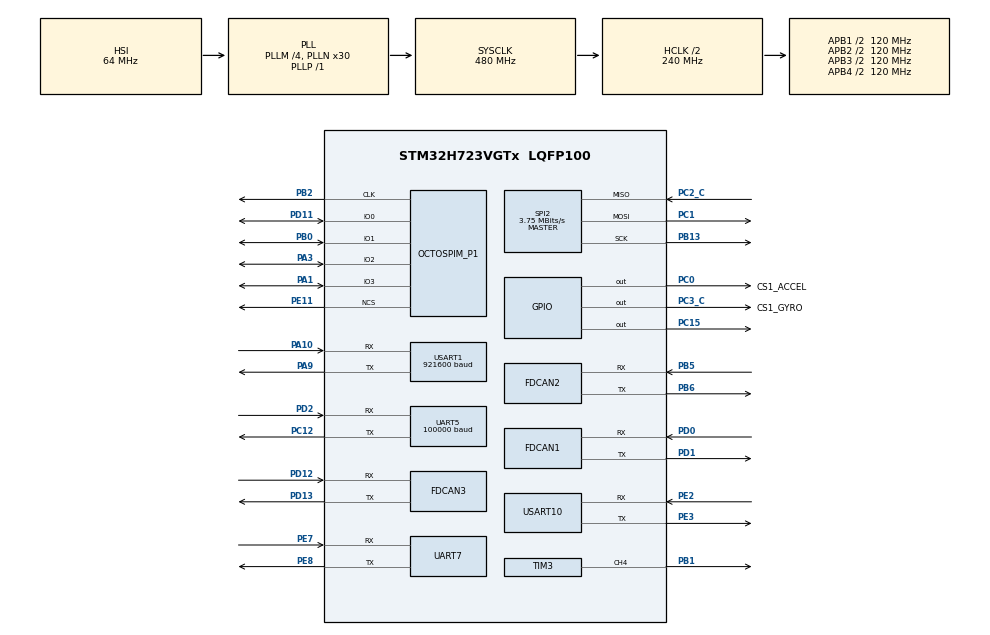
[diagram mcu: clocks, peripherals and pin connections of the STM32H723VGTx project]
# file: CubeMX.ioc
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CORTEX_M7.MPU_Control=__NULL
CORTEX_M7.default_mode_Activation=1
Dma.Request0=USART1_RX
Dma.Request1=USART1_TX
Dma.Request2=UART5_RX
Dma.Request3=UART7_RX
Dma.Request4=UART7_TX
Dma.Request5=USART10_RX
Dma.Request6=USART10_TX
Dma.Request7=SPI2_RX
Dma.Request8=SPI2_TX
Dma.SPI2_RX.7.Direction=DMA_PERIPH_TO_MEMORY
Dma.SPI2_RX.7.EventEnable=DISABLE
Dma.SPI2_RX.7.FIFOMode=DMA_FIFOMODE_DISABLE
Dma.SPI2_RX.7.Instance=DMA1_Stream1
Dma.SPI2_RX.7.MemDataAlignment=DMA_MDATAALIGN_BYTE
Dma.SPI2_RX.7.MemInc=DMA_MINC_ENABLE
Dma.SPI2_RX.7.Mode=DMA_NORMAL
Dma.SPI2_RX.7.PeriphDataAlignment=DMA_PDATAALIGN_BYTE
Dma.SPI2_RX.7.PeriphInc=DMA_PINC_DISABLE
Dma.SPI2_RX.7.Polarity=HAL_DMAMUX_REQ_GEN_RISING
Dma.SPI2_RX.7.Priority=DMA_PRIORITY_VERY_HIGH
Dma.SPI2_RX.7.RequestNumber=1
Dma.SPI2_RX.7.SignalID=NONE
Dma.SPI2_RX.7.SyncEnable=DISABLE
Dma.SPI2_RX.7.SyncPolarity=HAL_DMAMUX_SYNC_NO_EVENT
Dma.SPI2_RX.7.SyncRequestNumber=1
Dma.SPI2_RX.7.SyncSignalID=NONE
Dma.SPI2_TX.8.Direction=DMA_MEMORY_TO_PERIPH
Dma.SPI2_TX.8.EventEnable=DISABLE
Dma.SPI2_TX.8.FIFOMode=DMA_FIFOMODE_DISABLE
Dma.SPI2_TX.8.Instance=DMA1_Stream7
Dma.SPI2_TX.8.MemDataAlignment=DMA_MDATAALIGN_BYTE
Dma.SPI2_TX.8.MemInc=DMA_MINC_ENABLE
Dma.SPI2_TX.8.Mode=DMA_NORMAL
Dma.SPI2_TX.8.PeriphDataAlignment=DMA_PDATAALIGN_BYTE
Dma.SPI2_TX.8.PeriphInc=DMA_PINC_DISABLE
Dma.SPI2_TX.8.Polarity=HAL_DMAMUX_REQ_GEN_RISING
Dma.SPI2_TX.8.Priority=DMA_PRIORITY_HIGH
Dma.SPI2_TX.8.RequestNumber=1
Dma.SPI2_TX.8.SignalID=NONE
Dma.SPI2_TX.8.SyncEnable=DISABLE
Dma.SPI2_TX.8.SyncPolarity=HAL_DMAMUX_SYNC_NO_EVENT
Dma.SPI2_TX.8.SyncRequestNumber=1
Dma.SPI2_TX.8.SyncSignalID=NONE
Dma.UART5_RX.2.Direction=DMA_PERIPH_TO_MEMORY
Dma.UART5_RX.2.EventEnable=DISABLE
Dma.UART5_RX.2.FIFOMode=DMA_FIFOMODE_DISABLE
Dma.UART5_RX.2.Instance=DMA1_Stream0
Dma.UART5_RX.2.MemDataAlignment=DMA_MDATAALIGN_BYTE
Dma.UART5_RX.2.MemInc=DMA_MINC_ENABLE
Dma.UART5_RX.2.Mode=DMA_NORMAL
Dma.UART5_RX.2.PeriphDataAlignment=DMA_PDATAALIGN_BYTE
Dma.UART5_RX.2.PeriphInc=DMA_PINC_DISABLE
Dma.UART5_RX.2.Polarity=HAL_DMAMUX_REQ_GEN_RISING
Dma.UART5_RX.2.Priority=DMA_PRIORITY_VERY_HIGH
Dma.UART5_RX.2.RequestNumber=1
Dma.UART5_RX.2.SignalID=NONE
Dma.UART5_RX.2.SyncEnable=DISABLE
Dma.UART5_RX.2.SyncPolarity=HAL_DMAMUX_SYNC_NO_EVENT
Dma.UART5_RX.2.SyncRequestNumber=1
Dma.UART5_RX.2.SyncSignalID=NONE
Dma.UART7_RX.3.Direction=DMA_PERIPH_TO_MEMORY
Dma.UART7_RX.3.EventEnable=DISABLE
Dma.UART7_RX.3.FIFOMode=DMA_FIFOMODE_DISABLE
Dma.UART7_RX.3.Instance=DMA1_Stream3
Dma.UART7_RX.3.MemDataAlignment=DMA_MDATAALIGN_BYTE
Dma.UART7_RX.3.MemInc=DMA_MINC_ENABLE
Dma.UART7_RX.3.Mode=DMA_NORMAL
Dma.UART7_RX.3.PeriphDataAlignment=DMA_PDATAALIGN_BYTE
Dma.UART7_RX.3.PeriphInc=DMA_PINC_DISABLE
Dma.UART7_RX.3.Polarity=HAL_DMAMUX_REQ_GEN_RISING
Dma.UART7_RX.3.Priority=DMA_PRIORITY_LOW
Dma.UART7_RX.3.RequestNumber=1
Dma.UART7_RX.3.SignalID=NONE
Dma.UART7_RX.3.SyncEnable=DISABLE
Dma.UART7_RX.3.SyncPolarity=HAL_DMAMUX_SYNC_NO_EVENT
Dma.UART7_RX.3.SyncRequestNumber=1
Dma.UART7_RX.3.SyncSignalID=NONE
Dma.UART7_TX.4.Direction=DMA_MEMORY_TO_PERIPH
Dma.UART7_TX.4.EventEnable=DISABLE
Dma.UART7_TX.4.FIFOMode=DMA_FIFOMODE_DISABLE
Dma.UART7_TX.4.Instance=DMA1_Stream4
Dma.UART7_TX.4.MemDataAlignment=DMA_MDATAALIGN_BYTE
Dma.UART7_TX.4.MemInc=DMA_MINC_ENABLE
Dma.UART7_TX.4.Mode=DMA_NORMAL
Dma.UART7_TX.4.PeriphDataAlignment=DMA_PDATAALIGN_BYTE
Dma.UART7_TX.4.PeriphInc=DMA_PINC_DISABLE
Dma.UART7_TX.4.Polarity=HAL_DMAMUX_REQ_GEN_RISING
Dma.UART7_TX.4.Priority=DMA_PRIORITY_LOW
Dma.UART7_TX.4.RequestNumber=1
Dma.UART7_TX.4.SignalID=NONE
Dma.UART7_TX.4.SyncEnable=DISABLE
Dma.UART7_TX.4.SyncPolarity=HAL_DMAMUX_SYNC_NO_EVENT
Dma.UART7_TX.4.SyncRequestNumber=1
Dma.UART7_TX.4.SyncSignalID=NONE
Dma.USART10_RX.5.Direction=DMA_PERIPH_TO_MEMORY
Dma.USART10_RX.5.EventEnable=DISABLE
Dma.USART10_RX.5.FIFOMode=DMA_FIFOMODE_DISABLE
Dma.USART10_RX.5.Instance=DMA1_Stream5
Dma.USART10_RX.5.MemDataAlignment=DMA_MDATAALIGN_BYTE
Dma.USART10_RX.5.MemInc=DMA_MINC_ENABLE
Dma.USART10_RX.5.Mode=DMA_NORMAL
Dma.USART10_RX.5.PeriphDataAlignment=DMA_PDATAALIGN_BYTE
Dma.USART10_RX.5.PeriphInc=DMA_PINC_DISABLE
Dma.USART10_RX.5.Polarity=HAL_DMAMUX_REQ_GEN_RISING
Dma.USART10_RX.5.Priority=DMA_PRIORITY_LOW
Dma.USART10_RX.5.RequestNumber=1
Dma.USART10_RX.5.SignalID=NONE
Dma.USART10_RX.5.SyncEnable=DISABLE
Dma.USART10_RX.5.SyncPolarity=HAL_DMAMUX_SYNC_NO_EVENT
Dma.USART10_RX.5.SyncRequestNumber=1
Dma.USART10_RX.5.SyncSignalID=NONE
Dma.USART10_TX.6.Direction=DMA_MEMORY_TO_PERIPH
Dma.USART10_TX.6.EventEnable=DISABLE
Dma.USART10_TX.6.FIFOMode=DMA_FIFOMODE_DISABLE
Dma.USART10_TX.6.Instance=DMA1_Stream6
Dma.USART10_TX.6.MemDataAlignment=DMA_MDATAALIGN_BYTE
Dma.USART10_TX.6.MemInc=DMA_MINC_ENABLE
Dma.USART10_TX.6.Mode=DMA_NORMAL
Dma.USART10_TX.6.PeriphDataAlignment=DMA_PDATAALIGN_BYTE
Dma.USART10_TX.6.PeriphInc=DMA_PINC_DISABLE
Dma.USART10_TX.6.Polarity=HAL_DMAMUX_REQ_GEN_RISING
Dma.USART10_TX.6.Priority=DMA_PRIORITY_LOW
Dma.USART10_TX.6.RequestNumber=1
Dma.USART10_TX.6.SignalID=NONE
Dma.USART10_TX.6.SyncEnable=DISABLE
Dma.USART10_TX.6.SyncPolarity=HAL_DMAMUX_SYNC_NO_EVENT
Dma.USART10_TX.6.SyncRequestNumber=1
Dma.USART10_TX.6.SyncSignalID=NONE
Dma.USART1_RX.0.Direction=DMA_PERIPH_TO_MEMORY
Dma.USART1_RX.0.EventEnable=DISABLE
Dma.USART1_RX.0.FIFOMode=DMA_FIFOMODE_DISABLE
Dma.USART1_RX.0.Instance=DMA1_Stream2
Dma.USART1_RX.0.MemDataAlignment=DMA_MDATAALIGN_BYTE
Dma.USART1_RX.0.MemInc=DMA_MINC_ENABLE
Dma.USART1_RX.0.Mode=DMA_NORMAL
Dma.USART1_RX.0.PeriphDataAlignment=DMA_PDATAALIGN_BYTE
Dma.USART1_RX.0.PeriphInc=DMA_PINC_DISABLE
Dma.USART1_RX.0.Polarity=HAL_DMAMUX_REQ_GEN_RISING
Dma.USART1_RX.0.Priority=DMA_PRIORITY_LOW
Dma.USART1_RX.0.RequestNumber=1
Dma.USART1_RX.0.SignalID=NONE
Dma.USART1_RX.0.SyncEnable=DISABLE
Dma.USART1_RX.0.SyncPolarity=HAL_DMAMUX_SYNC_NO_EVENT
Dma.USART1_RX.0.SyncRequestNumber=1
Dma.USART1_RX.0.SyncSignalID=NONE
Dma.USART1_TX.1.Direction=DMA_MEMORY_TO_PERIPH
Dma.USART1_TX.1.EventEnable=DISABLE
Dma.USART1_TX.1.FIFOMode=DMA_FIFOMODE_DISABLE
Dma.USART1_TX.1.Instance=DMA2_Stream1
Dma.USART1_TX.1.MemDataAlignment=DMA_MDATAALIGN_BYTE
Dma.USART1_TX.1.MemInc=DMA_MINC_ENABLE
Dma.USART1_TX.1.Mode=DMA_NORMAL
Dma.USART1_TX.1.PeriphDataAlignment=DMA_PDATAALIGN_BYTE
Dma.USART1_TX.1.PeriphInc=DMA_PINC_DISABLE
Dma.USART1_TX.1.Polarity=HAL_DMAMUX_REQ_GEN_RISING
Dma.USART1_TX.1.Priority=DMA_PRIORITY_LOW
Dma.USART1_TX.1.RequestNumber=1
Dma.USART1_TX.1.SignalID=NONE
Dma.USART1_TX.1.SyncEnable=DISABLE
Dma.USART1_TX.1.SyncPolarity=HAL_DMAMUX_SYNC_NO_EVENT
Dma.USART1_TX.1.SyncRequestNumber=1
Dma.USART1_TX.1.SyncSignalID=NONE
FDCAN1.AutoRetransmission=ENABLE
FDCAN1.CalculateBaudRateNominal=1000000
FDCAN1.CalculateTimeBitNominal=1000
FDCAN1.CalculateTimeQuantumNominal=25.0
FDCAN1.DataPrescaler=3
FDCAN1.DataSyncJumpWidth=10
FDCAN1.DataTimeSeg1=29
FDCAN1.DataTimeSeg2=10
FDCAN1.ExtFiltersNbr=4
FDCAN1.NominalPrescaler=3
FDCAN1.NominalSyncJumpWidth=10
FDCAN1.NominalTimeSeg1=29
FDCAN1.NominalTimeSeg2=10
FDCAN1.ProtocolException=ENABLE
FDCAN1.RxBuffersNbr=32
FDCAN1.RxFifo0ElmtsNbr=32
FDCAN1.RxFifo1ElmtsNbr=0
FDCAN1.StdFiltersNbr=4
FDCAN1.TxFifoQueueElmtsNbr=8
FDCAN2.AutoRetransmission=ENABLE
FDCAN2.CalculateBaudRateNominal=1000000
FDCAN2.CalculateTimeBitNominal=1000
FDCAN2.CalculateTimeQuantumNominal=25.0
FDCAN2.DataPrescaler=3
FDCAN2.DataSyncJumpWidth=10
FDCAN2.DataTimeSeg1=29
FDCAN2.DataTimeSeg2=10
FDCAN2.ExtFiltersNbr=4
FDCAN2.MessageRAMOffset=0x200
FDCAN2.NominalPrescaler=3
FDCAN2.NominalSyncJumpWidth=10
FDCAN2.NominalTimeSeg1=29
FDCAN2.NominalTimeSeg2=10
FDCAN2.ProtocolException=ENABLE
FDCAN2.RxBuffersNbr=3
FDCAN2.RxFifo0ElmtsNbr=8
FDCAN2.RxFifo1ElmtsNbr=0
FDCAN2.StdFiltersNbr=4
FDCAN2.TransmitPause=DISABLE
FDCAN2.TxFifoQueueElmtsNbr=32
FDCAN3.AutoRetransmission=ENABLE
FDCAN3.CalculateBaudRateNominal=1000000
FDCAN3.CalculateTimeBitNominal=1000
FDCAN3.CalculateTimeQuantumNominal=25.0
FDCAN3.DataPrescaler=3
FDCAN3.DataSyncJumpWidth=10
FDCAN3.DataTimeSeg1=29
FDCAN3.DataTimeSeg2=10
FDCAN3.ExtFiltersNbr=4
FDCAN3.MessageRAMOffset=0x400
FDCAN3.NominalPrescaler=3
FDCAN3.NominalSyncJumpWidth=10
FDCAN3.NominalTimeSeg1=29
FDCAN3.NominalTimeSeg2=10
FDCAN3.ProtocolException=ENABLE
FDCAN3.RxBuffersNbr=32
FDCAN3.RxFifo0ElmtsNbr=32
FDCAN3.StdFiltersNbr=4
FDCAN3.TxFifoQueueElmtsNbr=32
FREERTOS.INCLUDE_vTaskDelayUntil=1
FREERTOS.Tasks01=defaultTask,0,512,StartDefaultTask,As weak,NULL,Dynamic,NULL,NULL;demo_task,-3,256,start_demo_task,As weak,NULL,Dynamic,NULL,NULL;mission_planer_,3,512,start_mission_planer_task,As weak,NULL,Dynamic,NULL,NULL
FREERTOS.configTOTAL_HEAP_SIZE=30720
Mcu.Family=STM32H7
Mcu.Name=STM32H723VGTx
Mcu.Package=LQFP100
Mdma.MDMA_Channel1.OCTOSPI1_TC.0.BlockCount=0
Mdma.MDMA_Channel1.OCTOSPI1_TC.0.BlockDataLength=0
Mdma.MDMA_Channel1.OCTOSPI1_TC.0.BufferTransferLength=1
Mdma.MDMA_Channel1.OCTOSPI1_TC.0.CircularMode=MDMA_LINEAR_LIST
Mdma.MDMA_Channel1.OCTOSPI1_TC.0.DataAlignment=MDMA_DATAALIGN_PACKENABLE
Mdma.MDMA_Channel1.OCTOSPI1_TC.0.DestBlockAddressOffset=0
Mdma.MDMA_Channel1.OCTOSPI1_TC.0.DestBurst=MDMA_DEST_BURST_SINGLE
Mdma.MDMA_Channel1.OCTOSPI1_TC.0.DestDataSize=MDMA_DEST_DATASIZE_BYTE
Mdma.MDMA_Channel1.OCTOSPI1_TC.0.DestinationInc=MDMA_DEST_INC_BYTE
Mdma.MDMA_Channel1.OCTOSPI1_TC.0.DstAddress=0
Mdma.MDMA_Channel1.OCTOSPI1_TC.0.Endianness=MDMA_LITTLE_ENDIANNESS_PRESERVE
Mdma.MDMA_Channel1.OCTOSPI1_TC.0.Instance=MDMA_Channel1
Mdma.MDMA_Channel1.OCTOSPI1_TC.0.MaskAddress=0
Mdma.MDMA_Channel1.OCTOSPI1_TC.0.MaskData=0
Mdma.MDMA_Channel1.OCTOSPI1_TC.0.Priority=MDMA_PRIORITY_LOW
Mdma.MDMA_Channel1.OCTOSPI1_TC.0.Rank=First
Mdma.MDMA_Channel1.OCTOSPI1_TC.0.SourceBlockAddressOffset=0
Mdma.MDMA_Channel1.OCTOSPI1_TC.0.SourceBurst=MDMA_SOURCE_BURST_SINGLE
Mdma.MDMA_Channel1.OCTOSPI1_TC.0.SourceDataSize=MDMA_SRC_DATASIZE_BYTE
Mdma.MDMA_Channel1.OCTOSPI1_TC.0.SourceInc=MDMA_SRC_INC_BYTE
Mdma.MDMA_Channel1.OCTOSPI1_TC.0.SrcAddress=0
Mdma.MDMA_Channel1.OCTOSPI1_TC.0.TransferTriggerMode=MDMA_BUFFER_TRANSFER
Mdma.MDMA_Channel1.Request0=OCTOSPI1_TC
Mdma.MDMA_Channel1.RequestsNb=1
Mdma.MDMA_Channel10.OCTOSPI1_FIFO_TH.0.BlockCount=0
Mdma.MDMA_Channel10.OCTOSPI1_FIFO_TH.0.BlockDataLength=0
Mdma.MDMA_Channel10.OCTOSPI1_FIFO_TH.0.BufferTransferLength=1
Mdma.MDMA_Channel10.OCTOSPI1_FIFO_TH.0.CircularMode=MDMA_LINEAR_LIST
Mdma.MDMA_Channel10.OCTOSPI1_FIFO_TH.0.DataAlignment=MDMA_DATAALIGN_PACKENABLE
Mdma.MDMA_Channel10.OCTOSPI1_FIFO_TH.0.DestBlockAddressOffset=0
Mdma.MDMA_Channel10.OCTOSPI1_FIFO_TH.0.DestBurst=MDMA_DEST_BURST_SINGLE
Mdma.MDMA_Channel10.OCTOSPI1_FIFO_TH.0.DestDataSize=MDMA_DEST_DATASIZE_BYTE
Mdma.MDMA_Channel10.OCTOSPI1_FIFO_TH.0.DestinationInc=MDMA_DEST_INC_BYTE
Mdma.MDMA_Channel10.OCTOSPI1_FIFO_TH.0.DstAddress=0
Mdma.MDMA_Channel10.OCTOSPI1_FIFO_TH.0.Endianness=MDMA_LITTLE_ENDIANNESS_PRESERVE
Mdma.MDMA_Channel10.OCTOSPI1_FIFO_TH.0.Instance=MDMA_Channel10
Mdma.MDMA_Channel10.OCTOSPI1_FIFO_TH.0.MaskAddress=0
Mdma.MDMA_Channel10.OCTOSPI1_FIFO_TH.0.MaskData=0
Mdma.MDMA_Channel10.OCTOSPI1_FIFO_TH.0.Priority=MDMA_PRIORITY_LOW
Mdma.MDMA_Channel10.OCTOSPI1_FIFO_TH.0.Rank=First
Mdma.MDMA_Channel10.OCTOSPI1_FIFO_TH.0.SourceBlockAddressOffset=0
Mdma.MDMA_Channel10.OCTOSPI1_FIFO_TH.0.SourceBurst=MDMA_SOURCE_BURST_SINGLE
Mdma.MDMA_Channel10.OCTOSPI1_FIFO_TH.0.SourceDataSize=MDMA_SRC_DATASIZE_BYTE
Mdma.MDMA_Channel10.OCTOSPI1_FIFO_TH.0.SourceInc=MDMA_SRC_INC_BYTE
Mdma.MDMA_Channel10.OCTOSPI1_FIFO_TH.0.SrcAddress=0
Mdma.MDMA_Channel10.OCTOSPI1_FIFO_TH.0.TransferTriggerMode=MDMA_BUFFER_TRANSFER
Mdma.MDMA_Channel10.Request0=OCTOSPI1_FIFO_TH
Mdma.MDMA_Channel10.RequestsNb=1
Mdma.RequestSet0=MDMA_Channel10
Mdma.RequestSet1=MDMA_Channel1
Mdma.RequestSetsNb=2
NVIC.DMA1_Stream0_IRQn=true\:5\:0\:false\:false\:true\:true\:false\:true\:true
NVIC.DMA1_Stream1_IRQn=true\:5\:0\:false\:false\:true\:true\:false\:true\:true
NVIC.DMA1_Stream2_IRQn=true\:5\:0\:false\:false\:true\:true\:false\:true\:true
NVIC.DMA1_Stream3_IRQn=true\:5\:0\:false\:false\:true\:true\:false\:true\:true
NVIC.DMA1_Stream4_IRQn=true\:5\:0\:false\:false\:true\:true\:false\:true\:true
NVIC.DMA1_Stream5_IRQn=true\:5\:0\:false\:false\:true\:true\:false\:true\:true
NVIC.DMA1_Stream6_IRQn=true\:5\:0\:false\:false\:true\:true\:false\:true\:true
NVIC.DMA1_Stream7_IRQn=true\:5\:0\:false\:false\:true\:true\:false\:true\:true
NVIC.DMA2_Stream1_IRQn=true\:5\:0\:false\:false\:true\:false\:false\:true\:true
NVIC.FDCAN1_IT0_IRQn=true\:5\:0\:false\:false\:true\:true\:true\:true\:true
NVIC.FDCAN1_IT1_IRQn=true\:5\:0\:false\:false\:true\:true\:true\:true\:true
NVIC.FDCAN2_IT0_IRQn=true\:5\:0\:false\:false\:true\:true\:true\:true\:true
NVIC.FDCAN2_IT1_IRQn=true\:5\:0\:false\:false\:true\:true\:true\:true\:true
NVIC.FDCAN3_IT0_IRQn=true\:5\:0\:false\:false\:true\:true\:true\:true\:true
NVIC.FDCAN3_IT1_IRQn=true\:5\:0\:false\:false\:true\:true\:true\:true\:true
NVIC.MDMA_IRQn=true\:5\:0\:false\:false\:true\:true\:false\:true\:true
NVIC.OCTOSPI1_IRQn=true\:5\:0\:false\:false\:true\:true\:true\:true\:true
NVIC.PriorityGroup=NVIC_PRIORITYGROUP_4
NVIC.SPI2_IRQn=true\:5\:0\:false\:false\:true\:true\:false\:true\:true
NVIC.TIM1_BRK_IRQn=true\:5\:0\:false\:false\:true\:true\:true\:true\:true
NVIC.TIM1_CC_IRQn=true\:5\:0\:false\:false\:true\:true\:true\:true\:true
NVIC.TIM1_TRG_COM_IRQn=true\:5\:0\:false\:false\:true\:true\:true\:true\:true
NVIC.TIM1_UP_IRQn=true\:5\:0\:false\:false\:true\:true\:true\:true\:true
NVIC.TIM5_IRQn=true\:0\:0\:false\:false\:true\:false\:false\:true\:true
NVIC.TimeBase=TIM5_IRQn
NVIC.TimeBaseIP=TIM5
NVIC.UART5_IRQn=true\:5\:0\:false\:false\:true\:true\:true\:true\:true
NVIC.UART7_IRQn=true\:5\:0\:false\:false\:true\:true\:true\:true\:true
NVIC.USART10_IRQn=true\:5\:0\:false\:false\:true\:true\:true\:true\:true
NVIC.USART1_IRQn=true\:5\:0\:false\:false\:true\:true\:false\:true\:true
OCTOSPI1.ClockPrescaler=8
OCTOSPI1.DeviceSize=23
PA1.Mode=OCTOSPI1_IOL_Port1L
PA1.Signal=OCTOSPIM_P1_IO3
PA10.Mode=Asynchronous
PA10.Signal=USART1_RX
PA13(JTMS/SWDIO).Mode=Serial_Wire
PA13(JTMS/SWDIO).Signal=DEBUG_JTMS-SWDIO
PA14(JTCK/SWCLK).Mode=Serial_Wire
PA14(JTCK/SWCLK).Signal=DEBUG_JTCK-SWCLK
PA3.Mode=OCTOSPI1_IOL_Port1L
PA3.Signal=OCTOSPIM_P1_IO2
PA9.Mode=Asynchronous
PA9.Signal=USART1_TX
PB0.Mode=OCTOSPI1_IOL_Port1L
PB0.Signal=OCTOSPIM_P1_IO1
PB1.Signal=S_TIM3_CH4
PB13.Mode=Full_Duplex_Master
PB13.Signal=SPI2_SCK
PB2.Mode=O1_P1_CLK
PB2.Signal=OCTOSPIM_P1_CLK
PB5.Mode=FDCAN_Activate
PB5.Signal=FDCAN2_RX
PB6.Mode=FDCAN_Activate
PB6.Signal=FDCAN2_TX
PC0.GPIO_Label=CS1_ACCEL
PC0.GPIO_Speed=GPIO_SPEED_FREQ_VERY_HIGH
PC0.PinState=GPIO_PIN_SET
PC0.Signal=GPIO_Output
PC1.Mode=Full_Duplex_Master
PC1.Signal=SPI2_MOSI
PC12.Mode=Asynchronous
PC12.Signal=UART5_TX
PC15-OSC32_OUT.GPIO_PuPd=GPIO_PULLUP
PC15-OSC32_OUT.PinState=GPIO_PIN_SET
PC15-OSC32_OUT.Signal=GPIO_Output
PC2_C.Mode=Full_Duplex_Master
PC2_C.Signal=SPI2_MISO
PC3_C.GPIO_Label=CS1_GYRO
PC3_C.GPIO_Speed=GPIO_SPEED_FREQ_VERY_HIGH
PC3_C.PinState=GPIO_PIN_SET
PC3_C.Signal=GPIO_Output
PD0.Mode=FDCAN_Activate
PD0.Signal=FDCAN1_RX
PD1.Mode=FDCAN_Activate
PD1.Signal=FDCAN1_TX
PD11.Mode=OCTOSPI1_IOL_Port1L
PD11.Signal=OCTOSPIM_P1_IO0
PD12.Mode=FDCAN_Activate
PD12.Signal=FDCAN3_RX
PD13.Mode=FDCAN_Activate
PD13.Signal=FDCAN3_TX
PD2.Mode=Asynchronous
PD2.Signal=UART5_RX
PE11.Mode=OCTOSPI1_Port1_NCS
PE11.Signal=OCTOSPIM_P1_NCS
PE2.Mode=Asynchronous
PE2.Signal=USART10_RX
PE3.Mode=Asynchronous
PE3.Signal=USART10_TX
PE7.Mode=Asynchronous
PE7.Signal=UART7_RX
PE8.Mode=Asynchronous
PE8.Signal=UART7_TX
ProjectManager.HeapSize=0x200
ProjectManager.StackSize=0x400
ProjectManager.TargetToolchain=CMake
RCC.ADCFreq_Value=129000000
RCC.APB1Freq_Value=120000000
RCC.APB2Freq_Value=120000000
RCC.APB3Freq_Value=120000000
RCC.APB4Freq_Value=120000000
RCC.CortexFreq_Value=480000000
RCC.D1PPRE=RCC_APB3_DIV2
RCC.D2PPRE1=RCC_APB1_DIV2
RCC.D2PPRE2=RCC_APB2_DIV2
RCC.D3PPRE=RCC_APB4_DIV2
RCC.DIVM1=4
RCC.DIVN1=30
RCC.DIVP1=1
RCC.DIVQ1=4
RCC.HCLKFreq_Value=240000000
RCC.HPRE=RCC_HCLK_DIV2
RCC.PLL1_VCI_Range=RCC_PLL1VCIRANGE_3
RCC.PLL2FRACN=0
RCC.PLL3FRACN=0
RCC.PLLFRACN=0
RCC.SYSCLKFreq_VALUE=480000000
RCC.SYSCLKSource=RCC_SYSCLKSOURCE_PLLCLK
RCC.USBFreq_Value=120000000
SH.S_TIM3_CH4.0=TIM3_CH4,PWM Generation4 CH4
SPI2.BaudRatePrescaler=SPI_BAUDRATEPRESCALER_32
SPI2.CLKPhase=SPI_PHASE_2EDGE
SPI2.CLKPolarity=SPI_POLARITY_HIGH
SPI2.CalculateBaudRate=3.75 MBits/s
SPI2.DataSize=SPI_DATASIZE_8BIT
SPI2.Direction=SPI_DIRECTION_2LINES
SPI2.Mode=SPI_MODE_MASTER
SPI2.VirtualType=VM_MASTER
TIM1.Period=999
TIM1.Prescaler=479
TIM3.Channel-PWM\ Generation4\ CH4=TIM_CHANNEL_4
TIM3.Prescaler=24-1
UART5.BaudRate=100000
UART5.Parity=PARITY_EVEN
UART5.RxPinLevelInvertParam=UART_ADVFEATURE_RXINV_DISABLE
UART5.WordLength=WORDLENGTH_9B
USART1.BaudRate=921600
USART1.VirtualMode-Asynchronous=VM_ASYNC
USART10.VirtualMode=VM_ASYNC
VP_FREERTOS_VS_CMSIS_V1.Mode=CMSIS_V1
VP_MEMORYMAP_VS_MEMORYMAP.Mode=CurAppReg
VP_OCTOSPI1_VS_octo.Mode=octo_mode
VP_SYS_VS_tim5.Mode=TIM5
VP_TIM1_VS_ClockSourceINT.Mode=Internal
board=custom

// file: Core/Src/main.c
/* USER CODE BEGIN Header */
/**
  ******************************************************************************
  * @file           : main.c
  * @brief          : Main program body
  ******************************************************************************
  * @attention
  *
  * Copyright (c) 2026 STMicroelectronics.
  * All rights reserved.
  *
  * This software is licensed under terms that can be found in the LICENSE file
  * in the root directory of this software component.
  * If no LICENSE file comes with this software, it is provided AS-IS.
  *
  ******************************************************************************
  */
/* USER CODE END Header */
#include "main.h"
#include "cmsis_os.h"
#include "dma.h"
#include "fdcan.h"
#include "mdma.h"
#include "octospi.h"
#include "spi.h"
#include "tim.h"
#include "usart.h"
#include "gpio.h"

/* USER CODE BEGIN Includes */
#include <string.h>  /* 使用 memcpy 需要此头文件 */
#include "log.h"     /* 日志抽象接口 */
#include "pyro_hardfault.h"
/* USER CODE END Includes */

/* USER CODE BEGIN PV */
/* 从链接器脚本导入的地址符号 */
extern uint32_t _sitcm_text;
extern uint32_t _eitcm_text;
extern uint32_t _siitcm_text;

/* 定义新的中断向量表。
 * [关键修复]：STM32H7 中断向量数量庞大，必须满足 Cortex-M7 的 1024 字节对齐要求！
 * 分配 256 个 uint32_t（正好 1024 字节空间）并强制 1024 字节对齐。
 */
#define VECTOR_TABLE_SIZE 256
__attribute__((aligned(1024))) uint32_t dtcm_vector_table[VECTOR_TABLE_SIZE];
/* USER CODE END PV */

void SystemClock_Config(void);
void MX_FREERTOS_Init(void);

/* USER CODE BEGIN 0 */
void Relocate_Vector_And_Code_To_RAM(void)
{
    __disable_irq(); // 搬运期间严禁中断触发

    /* 1. 搬运中断向量表到 DTCM RAM */
    /* H7 的 Flash 默认起始地址为 0x08000000，拷贝完整的 1024 字节 */
    memcpy(dtcm_vector_table, (uint32_t*)0x08000000, sizeof(dtcm_vector_table));
    #ifdef USE_LOG
    /* HardFault 是异常号 3，替换为用户自定义入口 */
    dtcm_vector_table[3] = ((uint32_t)pyro_hardfault_entry) | 1U;
    #endif
    SCB->VTOR = (uint32_t)dtcm_vector_table; // 将 Cortex-M7 的向量表偏移指向 RAM

    /* 2. 搬运高频中断代码从 Flash 到 ITCM RAM */
    uint32_t *pSrc = &_siitcm_text; // 数据在 Flash 里的源地址
    uint32_t *pDest = &_sitcm_text; // 数据在 ITCM 里的目标运行地址

    while (pDest < &_eitcm_text)
    {
        *pDest++ = *pSrc++;
    }

    /* 3. 内存屏障，确保缓存、流水线与总线同步 */
    __DSB(); // 数据同步屏障
    __ISB(); // 指令同步屏障 (丢弃流水线旧指令，强制从 ITCM 重新取指)

    __enable_irq(); // 恢复中断
}
/* USER CODE END 0 */

int main(void)
{

  /* USER CODE BEGIN 1 */
  SEGGER_RTT_Init();
  /* 在开启任何硬件外设和中断之前，执行分散加载与向量表重定向！*/
  Relocate_Vector_And_Code_To_RAM();
  /* USER CODE END 1 */

  /* MCU Configuration--------------------------------------------------------*/

  /* Reset of all peripherals, Initializes the Flash interface and the Systick. */
  HAL_Init();

  /* USER CODE BEGIN Init */
  LogHandle.Ctrl.Init(); // 初始化 EasyLogger
  /* USER CODE END Init */

  /* Configure the system clock */
  SystemClock_Config();

  /* Initialize all configured peripherals */
  MX_GPIO_Init();
  MX_DMA_Init();
  MX_MDMA_Init();
  MX_USART1_UART_Init();
  MX_FDCAN1_Init();
  MX_FDCAN2_Init();
  MX_FDCAN3_Init();
  MX_UART7_Init();
  MX_USART10_UART_Init();
  MX_SPI2_Init();
  MX_UART5_Init();
  MX_TIM3_Init();
  MX_TIM1_Init();
  MX_OCTOSPI1_Init();

  /* Call init function for freertos objects (in cmsis_os2.c) */
  MX_FREERTOS_Init();

  /* Start scheduler */
  osKernelStart();

  /* We should never get here as control is now taken by the scheduler */

  /* Infinite loop */
  while (1)
  {

  }
}

void SystemClock_Config(void)
{
  RCC_OscInitTypeDef RCC_OscInitStruct = {0};
  RCC_ClkInitTypeDef RCC_ClkInitStruct = {0};

  /** Supply configuration update enable
  */
  HAL_PWREx_ConfigSupply(PWR_LDO_SUPPLY);

  /** Configure the main internal regulator output voltage
  */
  __HAL_PWR_VOLTAGESCALING_CONFIG(PWR_REGULATOR_VOLTAGE_SCALE0);

  while(!__HAL_PWR_GET_FLAG(PWR_FLAG_VOSRDY)) {}

  /** Initializes the RCC Oscillators according to the specified parameters
  * in the RCC_OscInitTypeDef structure.
  */
  RCC_OscInitStruct.OscillatorType = RCC_OSCILLATORTYPE_HSI;
  RCC_OscInitStruct.HSIState = RCC_HSI_DIV1;
  RCC_OscInitStruct.HSICalibrationValue = 64;
  RCC_OscInitStruct.PLL.PLLState = RCC_PLL_ON;
  RCC_OscInitStruct.PLL.PLLSource = RCC_PLLSOURCE_HSI;
  RCC_OscInitStruct.PLL.PLLM = 4;
  RCC_OscInitStruct.PLL.PLLN = 30;
  RCC_OscInitStruct.PLL.PLLP = 1;
  RCC_OscInitStruct.PLL.PLLQ = 4;
  RCC_OscInitStruct.PLL.PLLR = 2;
  RCC_OscInitStruct.PLL.PLLRGE = RCC_PLL1VCIRANGE_3;
  RCC_OscInitStruct.PLL.PLLVCOSEL = RCC_PLL1VCOWIDE;
  RCC_OscInitStruct.PLL.PLLFRACN = 0;
  if (HAL_RCC_OscConfig(&RCC_OscInitStruct) != HAL_OK)
  {
    Error_Handler();
  }

  /** Initializes the CPU, AHB and APB buses clocks
  */
  RCC_ClkInitStruct.ClockType = RCC_CLOCKTYPE_HCLK|RCC_CLOCKTYPE_SYSCLK
                              |RCC_CLOCKTYPE_PCLK1|RCC_CLOCKTYPE_PCLK2
                              |RCC_CLOCKTYPE_D3PCLK1|RCC_CLOCKTYPE_D1PCLK1;
  RCC_ClkInitStruct.SYSCLKSource = RCC_SYSCLKSOURCE_PLLCLK;
  RCC_ClkInitStruct.SYSCLKDivider = RCC_SYSCLK_DIV1;
  RCC_ClkInitStruct.AHBCLKDivider = RCC_HCLK_DIV2;
  RCC_ClkInitStruct.APB3CLKDivider = RCC_APB3_DIV2;
  RCC_ClkInitStruct.APB1CLKDivider = RCC_APB1_DIV2;
  RCC_ClkInitStruct.APB2CLKDivider = RCC_APB2_DIV2;
  RCC_ClkInitStruct.APB4CLKDivider = RCC_APB4_DIV2;

  if (HAL_RCC_ClockConfig(&RCC_ClkInitStruct, FLASH_LATENCY_3) != HAL_OK)
  {
    Error_Handler();
  }
}

void HAL_TIM_PeriodElapsedCallback(TIM_HandleTypeDef *htim)
{
  if (htim->Instance == TIM5)
  {
    HAL_IncTick();
  }
}

void Error_Handler(void)
{
  __disable_irq();
  while (1)
  {
  }
}

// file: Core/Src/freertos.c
/* USER CODE BEGIN Header */
/**
  ******************************************************************************
  * File Name          : freertos.c
  * Description        : Code for freertos applications
  ******************************************************************************
  * @attention
  *
  * Copyright (c) 2026 STMicroelectronics.
  * All rights reserved.
  *
  * This software is licensed under terms that can be found in the LICENSE file
  * in the root directory of this software component.
  * If no LICENSE file comes with this software, it is provided AS-IS.
  *
  ******************************************************************************
  */
/* USER CODE END Header */

#include "FreeRTOS.h"
#include "task.h"
#include "main.h"
#include "cmsis_os.h"

osThreadId defaultTaskHandle;
osThreadId demo_taskHandle;
osThreadId mission_planer_Handle;

void StartDefaultTask(void const * argument);
void start_demo_task(void const * argument);
void start_mission_planer_task(void const * argument);

void MX_FREERTOS_Init(void); /* (MISRA C 2004 rule 8.1) */

/* GetIdleTaskMemory prototype (linked to static allocation support) */
void vApplicationGetIdleTaskMemory( StaticTask_t **ppxIdleTaskTCBBuffer, StackType_t **ppxIdleTaskStackBuffer, uint32_t *pulIdleTaskStackSize );

/* USER CODE BEGIN GET_IDLE_TASK_MEMORY */
static StaticTask_t xIdleTaskTCBBuffer;
static StackType_t xIdleStack[configMINIMAL_STACK_SIZE];

void vApplicationGetIdleTaskMemory( StaticTask_t **ppxIdleTaskTCBBuffer, StackType_t **ppxIdleTaskStackBuffer, uint32_t *pulIdleTaskStackSize )
{
  *ppxIdleTaskTCBBuffer = &xIdleTaskTCBBuffer;
  *ppxIdleTaskStackBuffer = &xIdleStack[0];
  *pulIdleTaskStackSize = configMINIMAL_STACK_SIZE;
  /* place for user code */
}
/* USER CODE END GET_IDLE_TASK_MEMORY */

void MX_FREERTOS_Init(void) {

  /* Create the thread(s) */
  /* definition and creation of defaultTask */
  osThreadDef(defaultTask, StartDefaultTask, osPriorityNormal, 0, 512);
  defaultTaskHandle = osThreadCreate(osThread(defaultTask), NULL);

  /* definition and creation of demo_task */
  osThreadDef(demo_task, start_demo_task, osPriorityIdle, 0, 256);
  demo_taskHandle = osThreadCreate(osThread(demo_task), NULL);

  /* definition and creation of mission_planer_ */
  osThreadDef(mission_planer_, start_mission_planer_task, osPriorityRealtime, 0, 2048);
  mission_planer_Handle = osThreadCreate(osThread(mission_planer_), NULL);

}

__weak void StartDefaultTask(void const * argument)
{
  for(;;)
  {
    osDelay(1);
  }
}

__weak void start_demo_task(void const * argument)
{
  for(;;)
  {
    osDelay(1);
  }
}

__weak void start_mission_planer_task(void const * argument)
{
  for(;;)
  {
    osDelay(1);
  }
}
